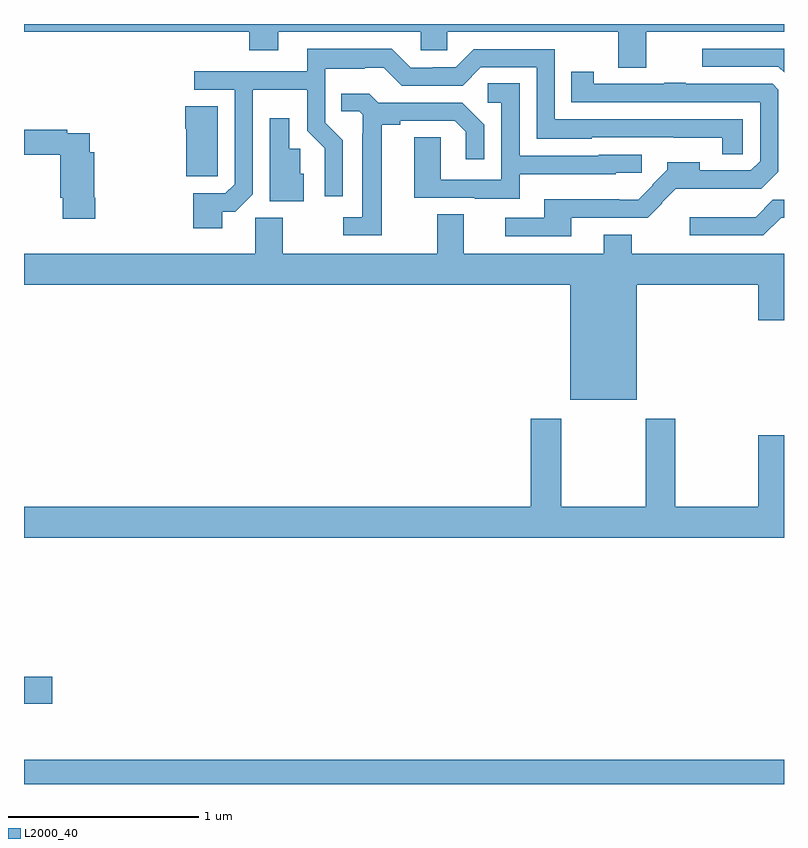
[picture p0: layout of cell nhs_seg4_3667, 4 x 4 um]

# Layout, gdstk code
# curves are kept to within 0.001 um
import gdstk
lib = gdstk.Library(unit=1e-6, precision=1e-09)
def R(c, l, rs):  # rectangles x0, y0, x1, y1
    for r in rs: c.add(gdstk.rectangle(r[:2], r[2:], *l))
def P(c, l, *ps):  # polygons
    for p in ps: c.add(gdstk.Polygon(p, *l))
L2000_40 = (2000, 40)

nhs_seg4_3667 = lib.new_cell('nhs_seg4_3667')
R(nhs_seg4_3667, L2000_40, [(305,752.9,309,753.028), (305,753.322,305.149,753.464)])
P(nhs_seg4_3667, L2000_40, [(308.275,756.86),(309,756.86),(309,756.9),(305,756.9),(305,756.86),(306.185,756.86),(306.185,756.761),(306.337,756.761),(306.337,756.86),(307.089,756.86),(307.089,756.762),(307.227,756.762),(307.227,756.86),(308.128,756.86),(308.128,756.67),(308.275,756.67)],
  [(309,756.771),(308.571,756.771),(308.571,756.675),(308.97,756.675),(309,756.645)],
  [(306.043,755.911),(306.111,755.911),(306.204,756.003),(306.204,756.554),(306.492,756.554),(306.492,756.338),(306.584,756.246),(306.584,755.994),(306.678,755.994),(306.678,756.288),(306.585,756.381),(306.585,756.665),(306.794,756.665),(306.794,756.669),(306.894,756.669),(306.987,756.576),(307.308,756.576),(307.404,756.672),(307.698,756.672),(307.698,756.296),(307.989,756.296),(307.989,756.303),(308.676,756.302),(308.676,756.214),(308.784,756.214),(308.784,756.399),(307.794,756.399),(307.794,756.768),(307.368,756.768),(307.272,756.672),(307.152,756.672),(307.152,756.669),(307.035,756.669),(306.935,756.769),(306.491,756.769),(306.491,756.651),(305.895,756.651),(305.895,756.555),(306.108,756.555),(306.108,756.057),(306.06,756.009),(305.891,756.009),(305.891,755.826),(306.043,755.826)],
  [(307.879,755.88),(308.283,755.88),(308.359,755.957),(308.357,755.959),(308.431,756.033),(308.765,756.032),(308.765,756.034),(308.881,756.034),(308.97,756.123),(308.97,756.555),(308.94,756.585),(308.483,756.585),(308.483,756.59),(308.371,756.59),(308.371,756.585),(307.998,756.585),(307.998,756.649),(307.879,756.649),(307.879,756.489),(308.874,756.489),(308.874,756.177),(308.826,756.129),(308.557,756.129),(308.557,756.172),(308.386,756.172),(308.386,756.133),(308.307,756.054),(308.31,756.051),(308.234,755.975),(308.132,755.975),(308.132,755.977),(307.739,755.977),(307.739,755.88),(307.533,755.88),(307.533,755.784),(307.879,755.784)],
  [(307.609,756.11),(308.115,756.11),(308.115,756.117),(308.25,756.117),(308.25,756.213),(308.025,756.213),(308.025,756.207),(307.608,756.207),(307.608,756.587),(307.44,756.587),(307.44,756.486),(307.512,756.486),(307.512,756.081),(307.194,756.081),(307.194,756.305),(307.055,756.305),(307.055,755.985),(307.373,755.985),(307.373,755.981),(307.609,755.981)],
  [(306.883,756.37),(306.979,756.37),(306.979,756.39),(307.268,756.39),(307.325,756.333),(307.325,756.189),(307.422,756.189),(307.422,756.37),(307.306,756.486),(306.864,756.486),(306.816,756.533),(306.67,756.533),(306.67,756.441),(306.765,756.441),(306.783,756.423),(306.783,756.323),(306.779,756.323),(306.779,755.883),(306.681,755.883),(306.681,755.787),(306.883,755.787)],
  [(306.019,756.466),(305.849,756.466),(305.849,756.35),(305.854,756.35),(305.854,756.099),(306.019,756.099)],
  [(306.472,756.111),(306.453,756.111),(306.453,756.243),(306.397,756.243),(306.397,756.403),(306.293,756.403),(306.293,755.966),(306.472,755.966)],
  [(305.375,755.986),(305.37,755.986),(305.37,756.226),(305.345,756.226),(305.345,756.324),(305.228,756.324),(305.228,756.344),(305,756.344),(305,756.212),(305.192,756.212),(305.192,755.986),(305.204,755.986),(305.204,755.874),(305.375,755.874)],
  [(308.985,755.88),(309,755.88),(309,755.975),(308.942,755.975),(308.851,755.884),(308.505,755.884),(308.505,755.787),(308.892,755.787)],
  [(308.224,755.528),(308.864,755.528),(308.864,755.34),(309,755.34),(309,755.692),(308.199,755.692),(308.199,755.791),(308.051,755.791),(308.051,755.692),(307.315,755.692),(307.315,755.9),(307.175,755.9),(307.175,755.692),(306.363,755.692),(306.363,755.881),(306.216,755.881),(306.216,755.692),(305,755.692),(305,755.528),(307.874,755.528),(307.874,754.922),(308.224,754.922)],
  [(309,754.735),(308.864,754.735),(308.864,754.36),(308.427,754.36),(308.427,754.822),(308.272,754.822),(308.272,754.36),(307.827,754.36),(307.827,754.822),(307.667,754.822),(307.667,754.36),(305,754.36),(305,754.196),(309,754.196)])

lib.write_gds('nhs_seg4_3667.gds')
